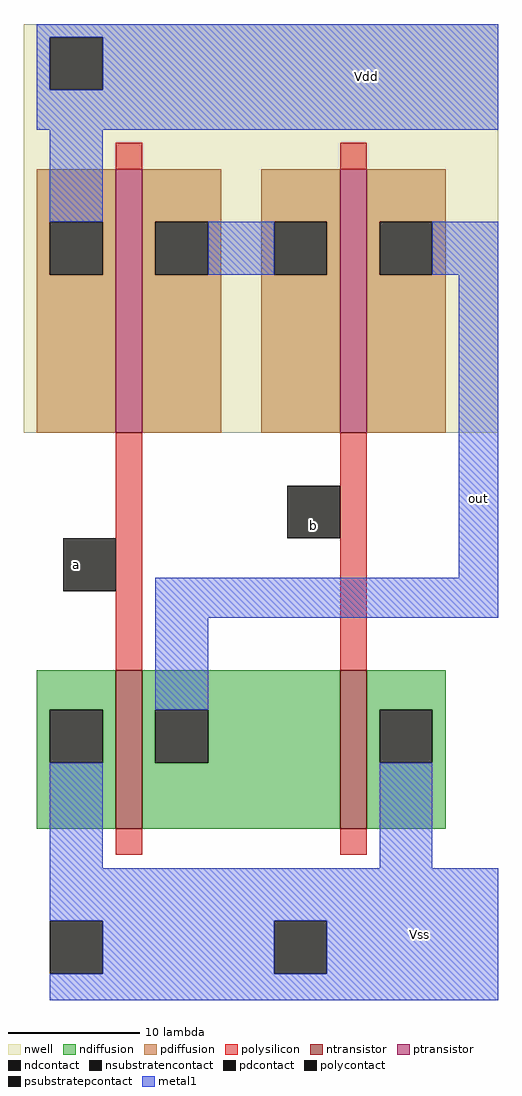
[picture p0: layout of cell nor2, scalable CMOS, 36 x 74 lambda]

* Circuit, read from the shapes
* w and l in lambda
.subckt nor2 Vdd Vss a b out
M1 out a Vss Vss nfet w=12 l=2
M2 Vss b out Vss nfet w=12 l=2
M3 n1 a Vdd Vdd pfet w=20 l=2
M4 out b n1 Vdd pfet w=20 l=2
.ends

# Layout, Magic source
magic
tech scmos
<< nwell >>
rect 0 44 36 75
<< polysilicon >>
rect 7 64 9 66
rect 24 64 26 66
rect 7 26 9 44
rect 24 26 26 44
rect 7 12 9 14
rect 24 12 26 14
<< ndiffusion >>
rect 1 23 7 26
rect 1 19 2 23
rect 6 19 7 23
rect 1 14 7 19
rect 9 23 24 26
rect 9 19 10 23
rect 14 19 24 23
rect 9 14 24 19
rect 26 23 32 26
rect 26 19 27 23
rect 31 19 32 23
rect 26 14 32 19
<< pdiffusion >>
rect 1 60 7 64
rect 1 56 2 60
rect 6 56 7 60
rect 1 44 7 56
rect 9 60 15 64
rect 9 56 10 60
rect 14 56 15 60
rect 9 44 15 56
rect 18 60 24 64
rect 18 56 19 60
rect 23 56 24 60
rect 18 44 24 56
rect 26 60 32 64
rect 26 56 27 60
rect 31 56 32 60
rect 26 44 32 56
<< metal1 >>
rect 1 74 36 75
rect 1 70 2 74
rect 6 70 36 74
rect 1 67 36 70
rect 2 60 6 67
rect 14 56 19 60
rect 31 56 36 60
rect 33 33 36 56
rect 10 30 36 33
rect 10 23 14 30
rect 2 11 6 19
rect 27 11 31 19
rect 2 7 36 11
rect 6 3 19 7
rect 23 3 36 7
rect 2 1 36 3
<< ntransistor >>
rect 7 14 9 26
rect 24 14 26 26
<< ptransistor >>
rect 7 44 9 64
rect 24 44 26 64
<< polycontact >>
rect 3 32 7 36
rect 20 36 24 40
<< ndcontact >>
rect 2 19 6 23
rect 10 19 14 23
rect 27 19 31 23
<< pdcontact >>
rect 2 56 6 60
rect 10 56 14 60
rect 19 56 23 60
rect 27 56 31 60
<< psubstratepcontact >>
rect 2 3 6 7
rect 19 3 23 7
<< nsubstratencontact >>
rect 2 70 6 74
<< labels >>
rlabel polycontact 4 34 4 34 3 a
rlabel polycontact 22 37 22 37 1 b
rlabel metal1 34 39 35 39 7 out
rlabel metal1 26 71 26 71 5 Vdd
rlabel metal1 30 6 30 6 1 Vss
<< end >>
